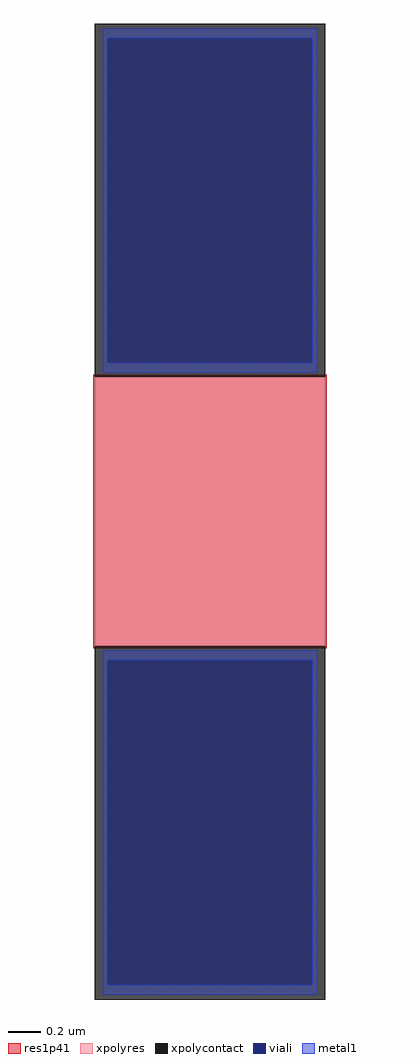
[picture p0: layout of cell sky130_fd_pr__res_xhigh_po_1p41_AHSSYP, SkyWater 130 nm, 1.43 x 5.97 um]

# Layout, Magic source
magic
tech sky130A
magscale 1 2
<< xpolycontact >>
rect -141 165 141 597
rect -141 -597 141 -165
<< xpolyres >>
rect -141 -165 141 165
<< viali >>
rect -125 182 125 579
rect -125 -579 125 -182
<< metal1 >>
rect -131 579 131 591
rect -131 182 -125 579
rect 125 182 131 579
rect -131 170 131 182
rect -131 -182 131 -170
rect -131 -579 -125 -182
rect 125 -579 131 -182
rect -131 -591 131 -579
<< res1p41 >>
rect -143 -167 143 167
<< properties >>
string gencell sky130_fd_pr__res_xhigh_po_1p41
string parameters w 1.410 l 1.65 m 1 nx 1 wmin 1.410 lmin 0.50 rho 2000 val 2.51k dummy 0 dw 0.0 term 120 sterm 0.0 caplen 0 wmax 1.410 guard 0 glc 0 grc 0 gtc 0 gbc 0 compatible {sky130_fd_pr__res_xhigh_po_0p35  sky130_fd_pr__res_xhigh_po_0p69 sky130_fd_pr__res_xhigh_po_1p41  sky130_fd_pr__res_xhigh_po_2p85 sky130_fd_pr__res_xhigh_po_5p73} full_metal 0 vias 1 viagb 0 viagt 0 viagl 0 viagr 0
string library sky130
<< end >>
